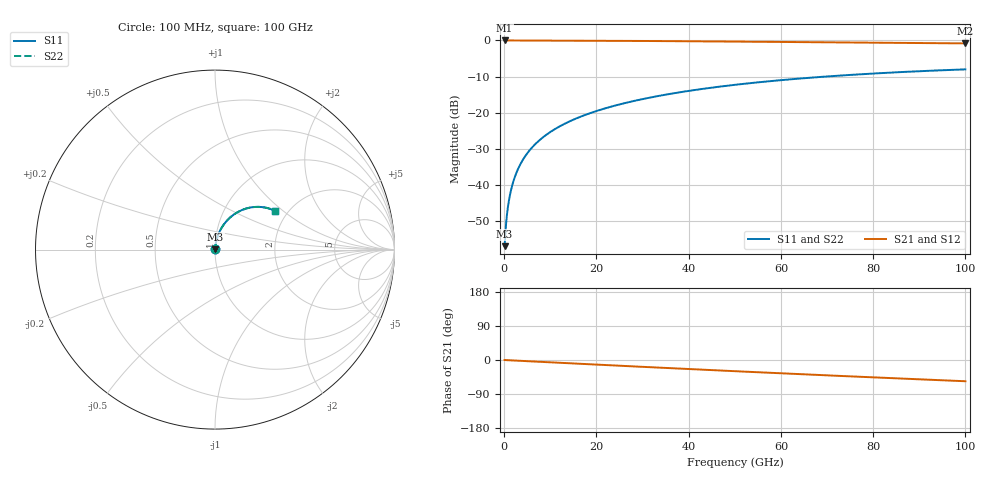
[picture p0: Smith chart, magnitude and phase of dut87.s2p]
! Touchstone file exported from HFSS 2026.1.0
!  File:  C:/ffzhzh/LocalFiles/Ansys_Project_Files/temp_train_RDL_87_1783498882_41296.aedt
!  Generated:  04:22:30 PM Jul  8, 2026
!  Design:  RDL
!  Project:  temp_train_RDL_87_1783498882_41296
! Variables:
!  h_bsmrdl = 2um
!  h_ox = 20um
!  h_rdl = 5um
!  h_sub = 80um
!  h_tmrdl = 2.47um
!  h_tsv = 80um
!  h_via = 3um
!  l_bsmrdl = 300um
!  l_sub = 555.87um
!  l_tmrdl = 155.87um
!  m_sub = 200um
!  pitch = 40.77um
!  r_tsv = 6um
!  s_tmrdl = 10um
!  w_bsmrdl = 18um
!  w_sub = 500um
!  w_tmrdl = 24.06um
!  x_tsv_center1 = 167.9um
!  x_tsv_center2 = 485.9um
!  x_tsv_center3 = 665.83um
!  x_tsv_center4 = 983.83um
!  x_tsv_center5 = 1163.76um
!  x_tsv_center6 = 1481.76um
# GHz S MA R 50.000000
! Terminal data exported
! Port[1] = TM_RDL1_1_T1
! Port[2] = TM_RDL1_1_T2
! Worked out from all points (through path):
!   1000 points, 100 MHz to 100 GHz, reference 50 ohm
!   highest |S21| = -0.01 dB at 100 MHz (marker M1); lowest = -0.8 dB at 100 GHz (marker M2)
!   group delay of S21, straight-line fit = 1.56 ps
!   lowest |S11| = -56.9 dB at 100 MHz (marker M3), VSWR 1.00, Z = 50.1 + j0.0635 ohm
!   |S11| at or under -10 dB: start of sweep to 69.71 GHz
!   |S22| runs from -56.9 to -8.0 dB; largest |S21 - S12| = 1e-14
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0.1  0.001426 26.4  0.9987 -0.1  0.9987 -0.1  0.001426 26.4
! Gamma 0 0 0 0
! Port Impedance 50 0 50 0
0.4  0.002815 59.1  0.9986 -0.3  0.9986 -0.3  0.002815 59.1
0.7  0.004362 68.5  0.9984 -0.4  0.9984 -0.4  0.004362 68.5
0.9  0.005398 71.9  0.9984 -0.6  0.9984 -0.6  0.005398 71.9
1.2  0.006967 75.3  0.9983 -0.8  0.9983 -0.8  0.006967 75.3
1.6  0.009086 78.0  0.9982 -1.0  0.9982 -1.0  0.009086 78.0
2.1  0.01176 80.0  0.9982 -1.3  0.9982 -1.3  0.01176 80.0
2.7  0.01499 81.3  0.9981 -1.7  0.9981 -1.7  0.01499 81.3
3.4  0.01876 82.1  0.9979 -2.1  0.9979 -2.1  0.01876 82.1
4.3  0.02362 82.5  0.9977 -2.7  0.9977 -2.7  0.02362 82.5
5.3  0.029 82.6  0.9975 -3.3  0.9975 -3.3  0.029 82.6
6.4  0.03491 82.4  0.9971 -3.9  0.9971 -3.9  0.03491 82.4
9.2  0.04982 81.3  0.9961 -5.7  0.9961 -5.7  0.04983 81.3
12.6  0.06767 79.6  0.9945 -7.7  0.9945 -7.7  0.06767 79.6
16.8  0.08927 77.3  0.9922 -10.2  0.9922 -10.2  0.08928 77.3
24.2  0.1263 73.2  0.9873 -14.6  0.9873 -14.6  0.1263 73.2
33.4  0.1703 68.1  0.9798 -20.0  0.9798 -20.0  0.1703 68.1
41.2  0.2056 63.8  0.9725 -24.5  0.9725 -24.5  0.2056 63.8
50.1  0.2434 58.9  0.9633 -29.6  0.9633 -29.6  0.2435 58.9
66.7  0.306 49.9  0.9447 -38.7  0.9447 -38.7  0.3061 50.0
83.4  0.3578 41.3  0.9261 -47.6  0.9261 -47.6  0.3578 41.3
100  0.3977 32.9  0.9094 -56.1  0.9094 -56.1  0.3977 33.0
